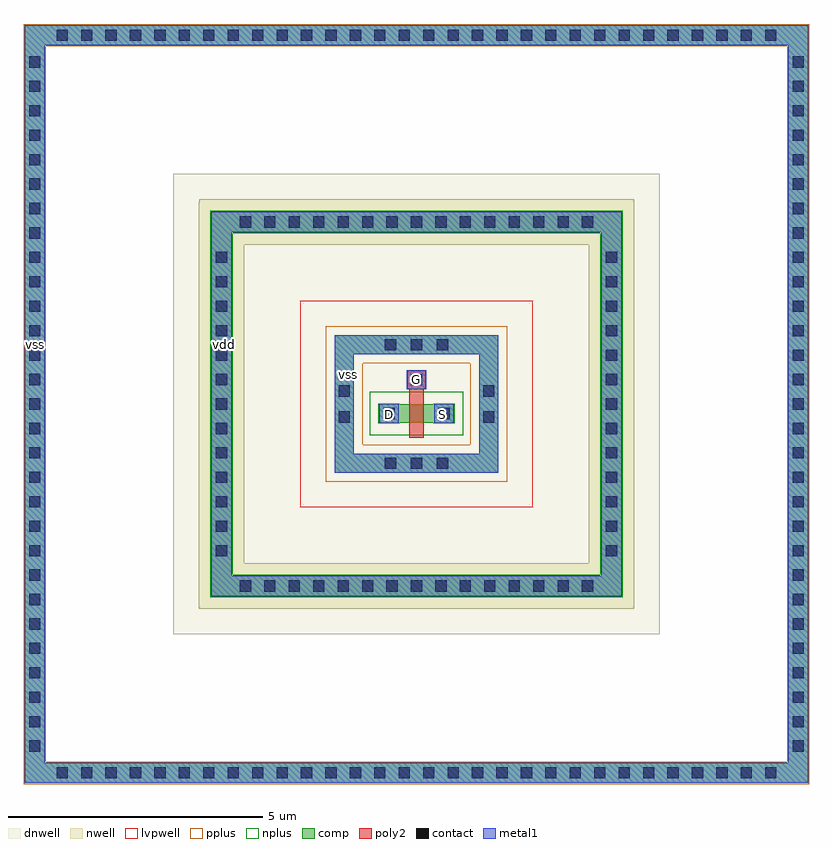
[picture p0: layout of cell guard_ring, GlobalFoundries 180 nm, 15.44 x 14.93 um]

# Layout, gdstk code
from math import pi, radians
import gdstk
lib = gdstk.Library(unit=1e-6, precision=5e-09)
def R(c, l, rs):  # rectangles x0, y0, x1, y1
    for r in rs: c.add(gdstk.rectangle(r[:2], r[2:], *l))
def A(c, l, x, y, w, h, nx, ny, dx, dy):  # array of equal rectangles
    R(c, l, [(x+i*dx, y+j*dy, x+i*dx+w, y+j*dy+h) for i in range(nx) for j in range(ny)])
def P(c, l, *ps):  # polygons
    for p in ps: c.add(gdstk.Polygon(p, *l))
dnwell = (12, 0)
nwell = (21, 0)
comp = (22, 0)
poly2 = (30, 0)
pplus = (31, 0)
nplus = (32, 0)
contact = (33, 0)
metal1 = (34, 0)
lvpwell = (204, 0)

nfet_1 = lib.new_cell('nfet$1')
R(nfet_1, comp, [(-0.42,-0.01,0,0.37), (0.66,-0.01,1.08,0.37), (0,0,0.66,0.36)])
P(nfet_1, comp, [(-1.28,-0.99),(-1.28,-0.61),(1.56,-0.61),(1.56,1.34),(-0.9,1.34),(-0.9,-0.61),(-1.28,-0.61),(-1.28,1.72),(1.94,1.72),(1.94,-0.99)])
R(nfet_1, poly2, [(0.19,-0.3,0.47,0.66), (0.15,0.66,0.51,1.02)])
P(nfet_1, pplus, [(-1.45,-1.16),(-1.45,-0.44),(1.39,-0.44),(1.39,1.17),(-0.73,1.17),(-0.73,-0.44),(-1.45,-0.44),(-1.45,1.89),(2.11,1.89),(2.11,-1.16)])
R(nfet_1, nplus, [(-0.59,-0.25,1.25,0.61)])
A(nfet_1, contact, -0.29, -0.91, 0.22, 0.22, 3, 2, 0.51, 2.33)
R(nfet_1, contact, [(-1.2,0,-0.98,0.22), (1.64,0,1.86,0.22), (-0.32,0.07,-0.1,0.29), (0.76,0.07,0.98,0.29), (-1.2,0.51,-0.98,0.73), (1.64,0.51,1.86,0.73), (0.22,0.73,0.44,0.95)])
R(nfet_1, metal1, [(-0.4,-0.01,-0.02,0.37), (0.68,-0.01,1.06,0.37), (0.14,0.65,0.52,1.03)])
P(nfet_1, metal1, [(-1.28,-0.99),(-1.28,-0.61),(1.56,-0.61),(1.56,1.34),(-0.9,1.34),(-0.9,-0.61),(-1.28,-0.61),(-1.28,1.72),(1.94,1.72),(1.94,-0.99)])

via_dev_1 = lib.new_cell('via_dev$1')
R(via_dev_1, comp, [(0,0,7.22,0.4)])
A(via_dev_1, contact, 0.14, 0.09, 0.22, 0.22, 15, 1, 0.48, 0)
R(via_dev_1, metal1, [(0,0,7.22,0.4)])

via_dev_2 = lib.new_cell('via_dev$2')
R(via_dev_2, comp, [(0,0,0.4,6.71)])
A(via_dev_2, contact, 0.09, 0.365, 0.22, 0.22, 1, 13, 0, 0.48)
R(via_dev_2, metal1, [(0,0,0.4,6.71)])

via_dev = lib.new_cell('via_dev')
R(via_dev, comp, [(0,0,0.4,14.05)])
A(via_dev, contact, 0.09, 0.195, 0.22, 0.22, 1, 29, 0, 0.48)
R(via_dev, metal1, [(0,0,0.4,14.05)])

via_dev_4 = lib.new_cell('via_dev$4')
R(via_dev_4, comp, [(0,0,14.56,0.4)])
A(via_dev_4, contact, 0.21, 0.09, 0.22, 0.22, 30, 1, 0.48, 0)
R(via_dev_4, metal1, [(0,0,14.56,0.4)])

guard_ring = lib.new_cell('guard_ring')
R(guard_ring, dnwell, [(-4.78,-4.525,4.78,4.525)])
R(guard_ring, nwell, [(-4.28,-4.025,4.28,-3.125), (3.38,-4.025,4.28,3.8), (-4.28,-4.02,-3.38,3.95), (-4.27,3.125,4.28,4.025)])
R(guard_ring, comp, [(-7.7,-7.445,-7.3,-7.025), (-7.3,-7.445,-7.28,-7.045), (7.28,-7.445,7.7,-7.045), (7.3,-7.045,7.7,-7.025), (-4.03,-3.775,-3.52,-3.375), (3.58,-3.775,3.96,-3.375), (3.63,-3.775,4.03,-3.355), (-4.03,-3.765,-3.63,-3.31), (-4.03,3.135,-3.63,3.77), (3.63,3.15,4.03,3.775), (-4.03,3.375,-3.485,3.775), (3.55,3.375,3.86,3.775), (-7.7,6.99,-7.3,7.445), (7.3,7.025,7.7,7.045), (-7.7,7.045,-7.28,7.445), (7.28,7.045,7.7,7.445)])
R(guard_ring, pplus, [(-7.72,-7.465,7.72,-7.025), (-7.72,-7.285,-7.28,7.465), (7.28,-7.285,7.72,7.465), (-7.72,7.025,7.72,7.465)])
R(guard_ring, nplus, [(-4.05,-3.795,-3.61,3.795), (-4.05,-3.795,4.05,-3.355), (3.61,-3.795,4.05,3.795), (-4.05,3.355,4.05,3.795)])
R(guard_ring, metal1, [(-7.7,-7.445,-7.3,-7.025), (-7.3,-7.445,-7.28,-7.045), (7.28,-7.445,7.7,-7.045), (7.3,-7.045,7.7,-7.025), (-4.03,-3.775,-3.61,-3.375), (3.61,-3.775,4.03,-3.375), (-4.03,-3.765,-3.63,-3.355), (3.63,-3.615,4.03,-3.355), (-0.62,-0.29,-0.455,-0.125), (0.465,-0.27,0.575,-0.15), (-0.025,0.455,0.05,0.53), (-1.395,0.51,-1.27,0.61), (-7.51,1.11,-7.425,1.195), (-3.805,1.11,-3.72,1.195), (-4.03,3.355,-3.63,3.775), (3.63,3.355,4.03,3.46), (-4.01,3.375,-3.61,3.775), (3.61,3.375,4.03,3.775), (-7.7,7.005,-7.3,7.445), (7.3,7.025,7.7,7.445), (-7.7,7.045,-7.26,7.445), (7.28,7.045,7.3,7.445)])
R(guard_ring, lvpwell, [(-2.28,-2.025,2.28,2.025)])
r = gdstk.Reference(nfet_1, (-0.33,-0.365)); r.repetition = gdstk.Repetition(1, 1, v1=(0,0), v2=(0,0)); guard_ring.add(r)
r = gdstk.Reference(via_dev_1, (-3.61,-3.775)); r.repetition = gdstk.Repetition(1, 1, v1=(0,0), v2=(0,0)); guard_ring.add(r)
r = gdstk.Reference(via_dev_1, (3.61,3.775), rotation=pi); r.repetition = gdstk.Repetition(1, 1, v1=(0,0), v2=(0,0)); guard_ring.add(r)
r = gdstk.Reference(via_dev_2, (-4.03,-3.355)); r.repetition = gdstk.Repetition(1, 1, v1=(0,0), v2=(0,0)); guard_ring.add(r)
r = gdstk.Reference(via_dev_2, (3.63,-3.355)); r.repetition = gdstk.Repetition(1, 1, v1=(0,0), v2=(0,0)); guard_ring.add(r)
r = gdstk.Reference(via_dev, (7.3,-7.025)); r.repetition = gdstk.Repetition(1, 1, v1=(0,0), v2=(0,0)); guard_ring.add(r)
r = gdstk.Reference(via_dev, (-7.7,-7.025)); r.repetition = gdstk.Repetition(1, 1, v1=(0,0), v2=(0,0)); guard_ring.add(r)
r = gdstk.Reference(via_dev_4, (-7.28,7.045)); r.repetition = gdstk.Repetition(1, 1, v1=(0,0), v2=(0,0)); guard_ring.add(r)
r = gdstk.Reference(via_dev_4, (-7.28,-7.445)); r.repetition = gdstk.Repetition(1, 1, v1=(0,0), v2=(0,0)); guard_ring.add(r)
guard_ring.add(gdstk.Label('vss', (-1.34,0.57), layer=34, texttype=10))
guard_ring.add(gdstk.Label('vdd', (-3.77,1.16), layer=34, texttype=10))
guard_ring.add(gdstk.Label('vss', (-7.475,1.16), layer=34, texttype=10))
guard_ring.add(gdstk.Label('D', (-0.535,-0.2), layer=34, texttype=10))
guard_ring.add(gdstk.Label('S', (0.51,-0.2), layer=34, texttype=10))
guard_ring.add(gdstk.Label('G', (0,0.475), layer=34, texttype=10))

lib.write_gds('guard_ring.gds')
